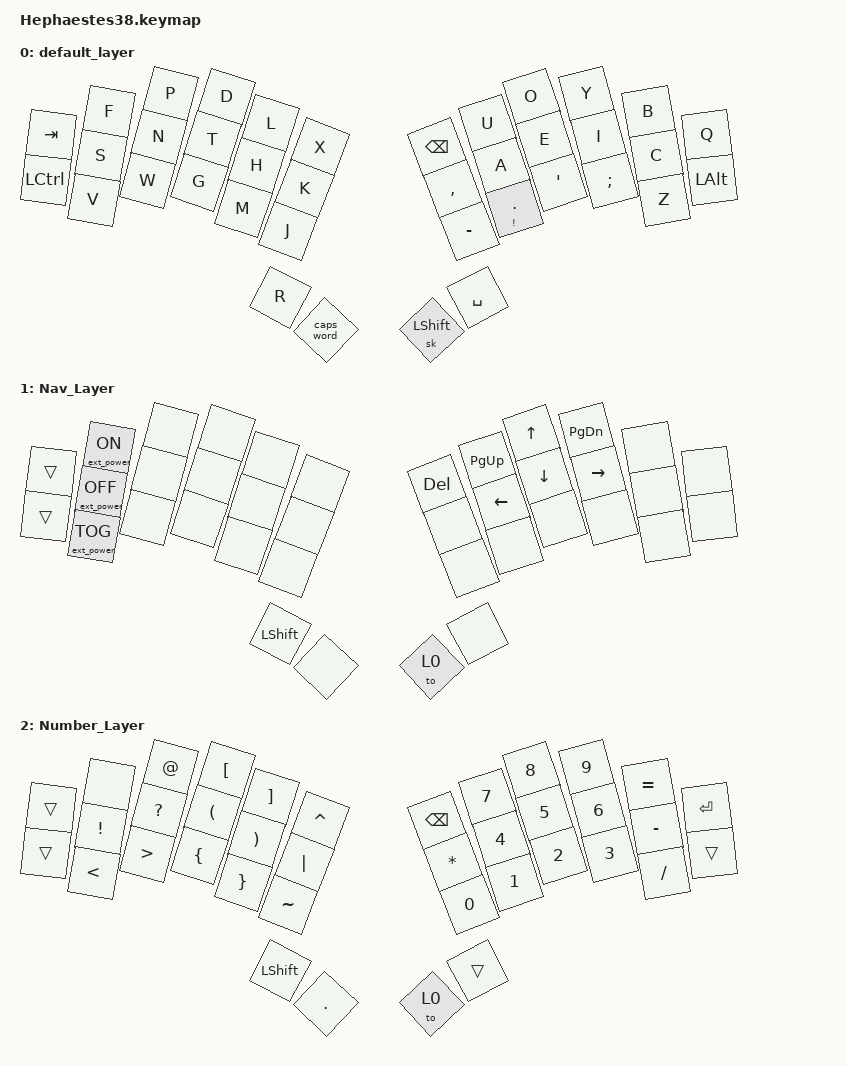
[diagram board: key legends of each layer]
#include <behaviors.dtsi>
#include <dt-bindings/zmk/keys.h>
#include <dt-bindings/zmk/ext_power.h>

&sk {
    release-after-ms = <500>;
    quick-release;
};

/{
    combos {
        compatible = "zmk,combos";
        combo_Nav_Layer {
            timeout-ms = <50>;
            key-positions = <13 34>;
            bindings = <&tog 1>;
        };
        combo_NUM_Layer {
            timeout-ms = <50>;
            key-positions = <18 37>;
            bindings = <&tog 2>;
        };
        combo_ESC {
            timeout-ms = <50>;
            key-positions = <13 14>;
            bindings = <&kp ESC>;
        };
        combo_Enter {
            timeout-ms = <50>;
            key-positions = <17 18 19>;
            bindings = <&kp ENTER>;
        };
        combo_Windows {
            timeout-ms = <50>;
            key-positions = <12 14>;
            bindings = <&kp LEFT_GUI>;
        };
        combo_Delete {
            timeout-ms = <50>;
            key-positions = <2 3>;
            bindings = <&kp DEL>;
        };
    };

    keymap {
        compatible = "zmk,keymap";
        default_layer { //layer 0
            bindings = <
                            &kp F   &kp P   &kp D   &kp L   &kp X       &kp BSPC    &kp U           &kp O           &kp Y       &kp B
                &kp TAB     &kp S   &kp N   &kp T   &kp H   &kp K       &kp COMMA   &kp A           &kp E           &kp I       &kp C   &kp Q
                &kp LCTRL   &kp V   &kp W   &kp G   &kp M   &kp J       &kp MINUS   &mt EXCL DOT    &kp SQT         &kp SEMI    &kp Z   &kp LALT
                                                    &kp R  &caps_word    &sk LSHIFT  &kp SPACE
            >;
        };
        Nav_Layer { //layer 2
            bindings = <
                            &ext_power EP_ON   &none   &none   &none   &none       &kp DEL     &kp PG_UP       &kp UP          &kp PG_DN   &none
                &trans      &ext_power EP_OFF   &none   &none   &none   &none       &none       &kp LEFT        &kp DOWN        &kp RIGHT   &none   &none
                &trans      &ext_power EP_TOG   &none   &none   &none   &none       &none       &none           &none           &none       &none   &none
                                                &kp LSHIFT  &none       &to 0       &none
            >;
        };
        Number_Layer { //layer 3
            bindings = <
                            &none       &kp AT_SIGN &kp LBKT    &kp RBKT    &kp CARET   &kp BSPC        &kp N7      &kp N8      &kp N9  &kp EQUAL
                &trans      &kp EXCL    &kp QMARK   &kp LPAR    &kp RPAR    &kp PIPE    &kp STAR        &kp N4      &kp N5      &kp N6  &kp MINUS   &kp ENTER
                &trans      &kp LT      &kp GT      &kp LBRC    &kp RBRC    &kp TILDE   &kp N0          &kp N1      &kp N2      &kp N3  &kp FSLH    &trans
                                                                &kp LSHIFT  &kp DOT     &to 0           &trans
            >;
        }; 
    };
};
